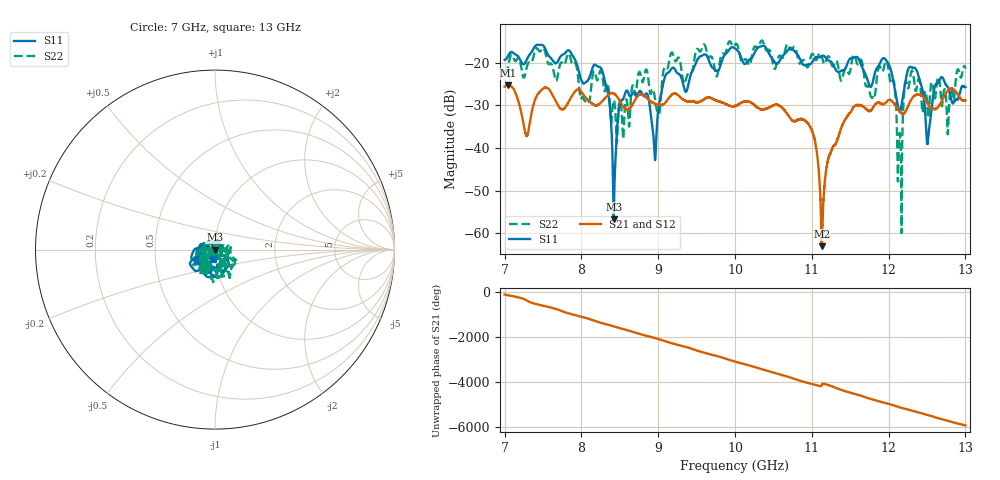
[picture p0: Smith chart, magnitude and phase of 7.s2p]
[Version] 2.0
! Rohde & Schwarz Vector Network Analyzer
! Rohde-Schwarz,ZNL20-2Port,1323001220200009,1.71.1.10-23.02.1.238
! Port Assignments:
! Nominal Port -> Actual Test Port
!  1 -> 1
!  2 -> 2
! Created: GMT+3 2024-09-24 15:10:15
# Hz S DB R 50
[Number of Ports] 2
[Two-Port Data Order] 21_12
! freq[Hz]  S11[mag dB]  S11[ang]  S21[mag dB]  S21[ang]  S12[mag dB]  S12[ang]  S22[mag dB]  S22[ang]
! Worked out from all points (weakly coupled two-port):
!   6001 points, 7 GHz to 13 GHz, reference 50 ohm
!   highest |S21| = -25.29 dB at 7.045 GHz (marker M1); lowest = -63.0 dB at 11.13 GHz (marker M2)
!   lowest |S11| = -56.7 dB at 8.421 GHz (marker M3), VSWR 1.00, Z = 49.9 - j0.0409 ohm
!   |S11| at or under -10 dB: start of sweep to end of sweep
!   |S22| runs from -59.9 to -14.8 dB; largest |S21 - S12| = 0.00097
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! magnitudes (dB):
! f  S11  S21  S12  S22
! 7 GHz  -19.3  -25.6  -25.6  -21.6
! 7.045 GHz  -18.4  -25.3  -25.3  -20.9
! 7.286 GHz  -19.4  -37.1  -37.1  -21.2
! 7.835 GHz  -17.1  -29.1  -29.1  -17.9
! 8 GHz  -24.1  -26.8  -26.8  -28.4
! 8.273 GHz  -22.0  -29.0  -29.0  -23.1
! 8.421 GHz  -56.7  -27.2  -27.2  -28.8
! 8.578 GHz  -26.8  -30.8  -30.8  -28.8
! 8.841 GHz  -27.3  -28.1  -28.1  -21.6
! 8.949 GHz  -40.2  -29.5  -29.5  -27.3
! 9 GHz  -31.2  -29.8  -29.8  -31.8
! 9.173 GHz  -21.4  -27.5  -27.5  -17.6
! 10 GHz  -16.7  -30.1  -30.1  -15.8
! 11 GHz  -20.0  -35.9  -35.8  -18.0
! 11.13 GHz  -18.5  -63.0  -62.3  -18.5
! 11.45 GHz  -21.0  -33.0  -33.0  -21.4
! 12 GHz  -20.3  -28.8  -28.8  -21.8
! 12.14 GHz  -31.5  -31.4  -31.5  -36.4
! 12.3 GHz  -21.1  -28.6  -28.6  -21.9
! 12.51 GHz  -38.1  -29.7  -29.6  -32.3
! 12.67 GHz  -23.9  -29.8  -29.7  -25.3
! 13 GHz  -25.7  -28.8  -28.7  -21.4
